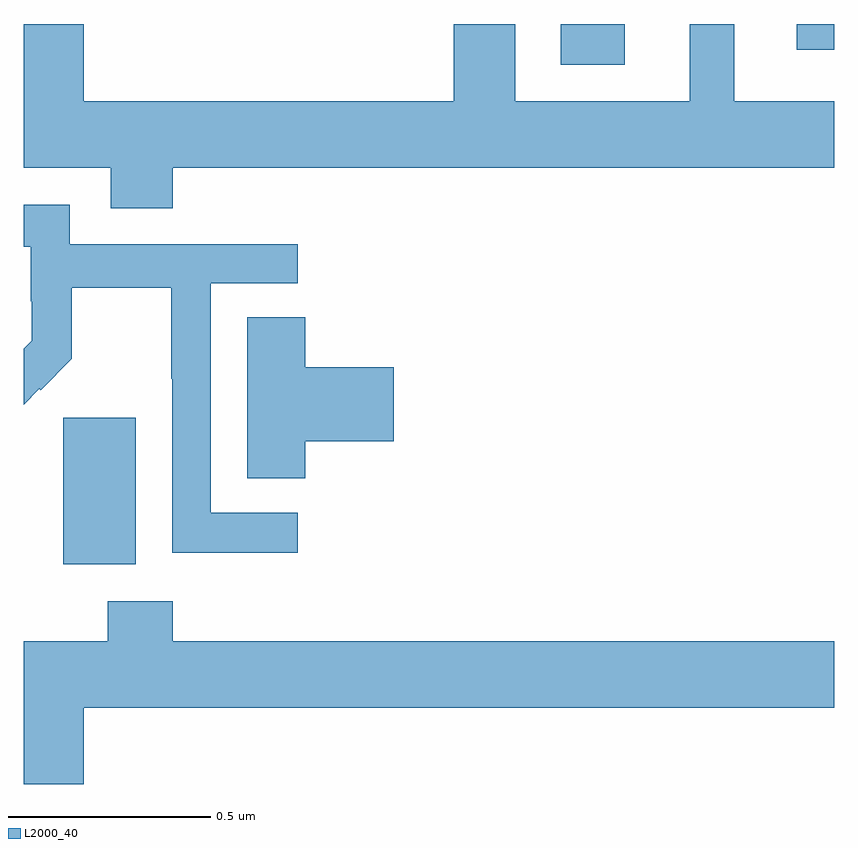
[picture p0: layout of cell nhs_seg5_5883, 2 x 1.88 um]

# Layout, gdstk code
import gdstk
lib = gdstk.Library(unit=1e-6, precision=1e-09)
def R(c, l, rs):  # rectangles x0, y0, x1, y1
    for r in rs: c.add(gdstk.rectangle(r[:2], r[2:], *l))
def P(c, l, *ps):  # polygons
    for p in ps: c.add(gdstk.Polygon(p, *l))
L2000_40 = (2000, 40)

nhs_seg5_5883 = lib.new_cell('nhs_seg5_5883')
R(nhs_seg5_5883, L2000_40, [(189.098,838.466,189.277,838.827), (190.325,839.699,190.483,839.799), (190.907,839.736,191,839.799)])
P(nhs_seg5_5883, L2000_40, [(189.368,839.444),(191,839.444),(191,839.608),(190.753,839.608),(190.753,839.799),(190.643,839.799),(190.643,839.608),(190.213,839.608),(190.213,839.799),(190.061,839.799),(190.061,839.608),(189.148,839.608),(189.148,839.799),(189,839.799),(189,839.444),(189.215,839.444),(189.215,839.345),(189.368,839.345)],
  [(189.676,838.593),(189.462,838.593),(189.462,839.16),(189.676,839.16),(189.676,839.256),(189.114,839.256),(189.114,839.353),(189,839.353),(189,839.249),(189.018,839.249),(189.018,839.115),(189.02,839.115),(189.02,839.018),(189,838.998),(189,838.86),(189.039,838.899),(189.042,838.896),(189.119,838.973),(189.119,839.148),(189.364,839.148),(189.364,838.924),(189.366,838.924),(189.366,838.495),(189.676,838.495)],
  [(189.695,838.769),(189.913,838.769),(189.913,838.952),(189.695,838.952),(189.695,839.075),(189.551,839.075),(189.551,838.678),(189.695,838.678)],
  [(189.148,838.112),(191,838.112),(191,838.276),(189.368,838.276),(189.368,838.375),(189.208,838.375),(189.208,838.276),(189,838.276),(189,837.924),(189.148,837.924)])

lib.write_gds('nhs_seg5_5883.gds')
